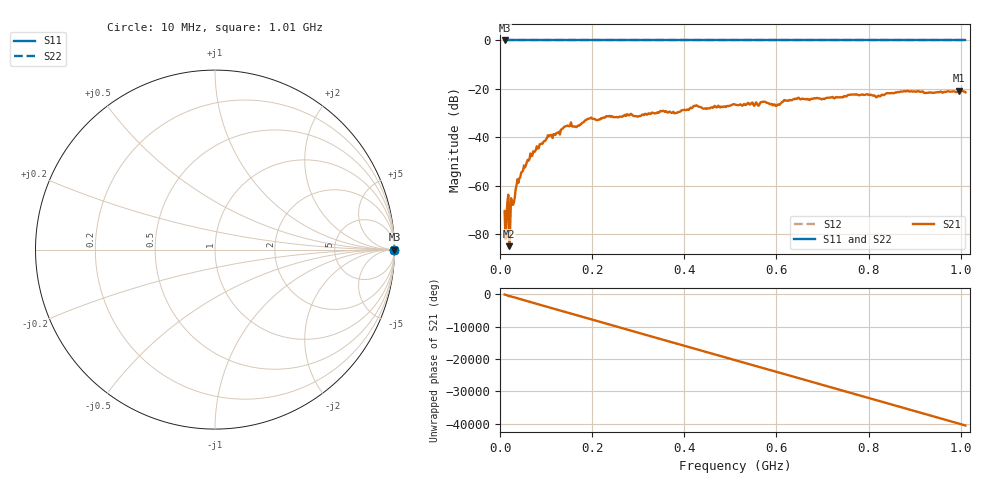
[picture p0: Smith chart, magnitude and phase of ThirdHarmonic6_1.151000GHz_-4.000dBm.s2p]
! 8/16/2025 11:25:23 AM
! C:\ANRITSUVNA\TEMP\TEMP.S2P
! CHANNEL.1
! TR.MEASUREMENT
! RAW.DATA
! RF.CORRECTION.OFF
! AVERAGING.OFF
! IF.BANDWIDTH: 5KHZ
! SWEEPTYPE:  FREQ.SWEEP(Linear)
! Reference Plane Port Info
! PORT:  PORT1  PORT2
! DISTANCE:  0  m  0  m
! TIME:  0  s  0  s
! PHASE.OFFSET:  0  deg.  0  deg.
! LOSS:  0  dB  0  dB
! REF.LOSS:  0  dB  0  dB
! REF.FREQ:  0  Hz  0  Hz
! Power Info
! POWER:  -20  dBm  -20  dBm
! EFF.POWER:  -20  dBm  -20  dBm
! SOURCE.ATTEN:  0  dB  0  dB
! TEST.ATTEN:  0  dB  0  dB
# GHZ S RI R 50.0
! FREQ.GHZ  S11RE  S11IM  S21RE  S21IM  S12RE  S12IM  S22RE  S22IM
!; PortSelection: Port_12
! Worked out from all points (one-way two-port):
!   501 points, 10 MHz to 1.01 GHz, reference 50 ohm
!   highest |S21| = -20.76 dB at 996 MHz (marker M1); lowest = -84.8 dB at 20 MHz (marker M2)
!   lowest |S11| = 0.0 dB at 10 MHz (marker M3)
!   |S11| at or under -10 dB: nowhere
!   |S22| runs from 0.0 to 0.0 dB; largest |S21 - S12| = 1.1
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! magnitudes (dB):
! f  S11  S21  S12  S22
! 10 MHz  0.0  -70.4  0.0  0.0
! 14 MHz  0.0  -73.0  0.0  0.0
! 16 MHz  0.0  -66.7  0.0  0.0
! 20 MHz  0.0  -84.8  0.0  0.0
! 24 MHz  0.0  -65.1  0.0  0.0
! 28 MHz  0.0  -67.8  0.0  0.0
! 42 MHz  0.0  -56.8  0.0  0.0
! 76 MHz  0.0  -45.8  0.0  0.0
! 108 MHz  0.0  -39.2  0.0  0.0
! 144 MHz  0.0  -35.3  0.0  0.0
! 178 MHz  0.0  -34.0  0.0  0.0
! 194 MHz  0.0  -32.2  0.0  0.0
! 344 MHz  0.0  -29.9  0.0  0.0
! 424 MHz  0.0  -27.0  0.0  0.0
! 510 MHz  0.0  -26.4  0.0  0.0
! 572 MHz  0.0  -25.3  0.0  0.0
! 602 MHz  0.0  -26.5  0.0  0.0
! 620 MHz  0.0  -24.8  0.0  0.0
! 678 MHz  0.0  -24.1  0.0  0.0
! 844 MHz  0.0  -21.7  0.0  0.0
! 996 MHz  0.0  -20.8  0.0  0.0
! 1.01 GHz  0.0  -21.4  0.0  0.0
